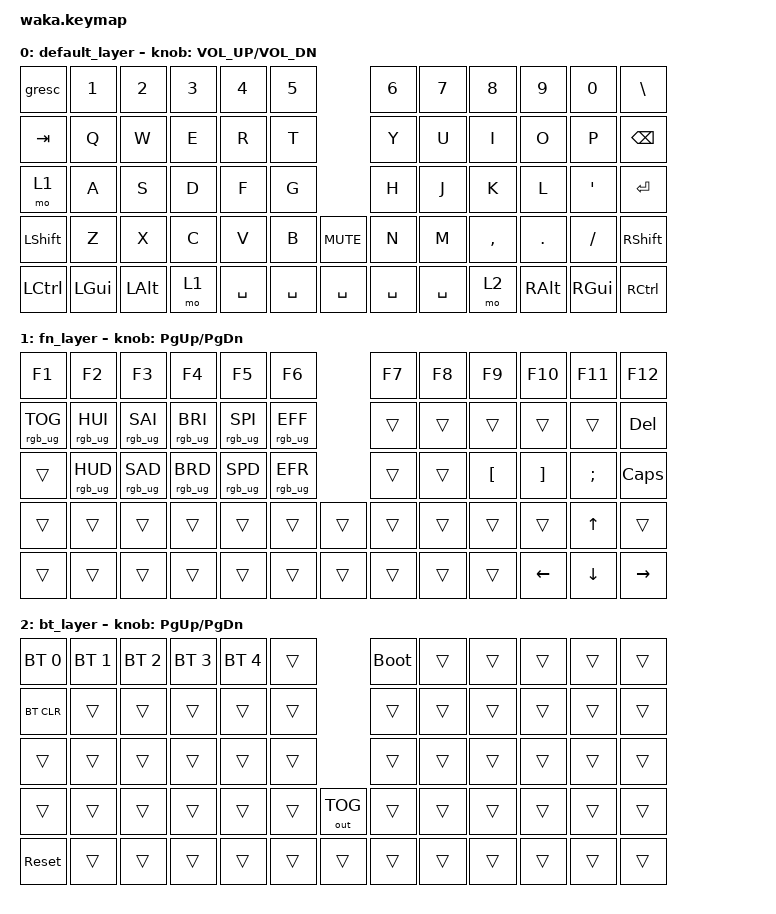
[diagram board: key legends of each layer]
  /*
  * Copyright (c) 2020 The ZMK Contributors
  *
  * SPDX-License-Identifier: MIT
  */

#include <behaviors.dtsi>
#include <dt-bindings/zmk/bt.h>
#include <dt-bindings/zmk/keys.h>
#include <dt-bindings/zmk/outputs.h>
#include <dt-bindings/zmk/rgb.h>

&encoder {
    status = "okay";
};

/ {
    sensors {
        compatible = "zmk,keymap-sensors";
        sensors = <&encoder>;
        triggers-per-rotation = <20>;
    };

    keymap {
    compatible = "zmk,keymap";
        default_layer {
            bindings = <
        &gresc      &kp N1      &kp N2      &kp N3      &kp N4      &kp N5                &kp N6    &kp N7    &kp N8    &kp N9     &kp N0     &kp BSLH
        &kp TAB     &kp Q       &kp W       &kp E       &kp R       &kp T                 &kp Y     &kp U     &kp I     &kp O      &kp P      &kp BSPC
        &mo 1       &kp A       &kp S       &kp D       &kp F       &kp G                 &kp H     &kp J     &kp K     &kp L      &kp SQT    &kp ENTER
        &kp LSHIFT  &kp Z       &kp X       &kp C       &kp V       &kp B     &kp C_MUTE  &kp N     &kp M     &kp COMMA &kp DOT    &kp FSLH   &kp RSHIFT
        &kp LCTRL   &kp LGUI    &kp LALT    &mo 1       &kp SPACE   &kp SPACE  &kp SPACE  &kp SPACE &kp SPACE &mo 2     &kp RALT   &kp RGUI   &kp RCTRL
            >;
            sensor-bindings = <&inc_dec_kp C_VOL_UP C_VOL_DN>;
        };

        fn_layer {
            bindings = <
        &kp F1           &kp F2           &kp F3           &kp F4           &kp F5           &kp F6                     &kp F7  &kp F8  &kp F9    &kp F10   &kp F11   &kp F12
        &rgb_ug RGB_TOG  &rgb_ug RGB_HUI  &rgb_ug RGB_SAI  &rgb_ug RGB_BRI  &rgb_ug RGB_SPI  &rgb_ug RGB_EFF            &trans  &trans  &trans    &trans    &trans    &kp DEL
        &trans           &rgb_ug RGB_HUD  &rgb_ug RGB_SAD  &rgb_ug RGB_BRD  &rgb_ug RGB_SPD  &rgb_ug RGB_EFR            &trans  &trans  &kp LBKT  &kp RBKT  &kp SEMI  &kp CAPS
        &trans           &trans           &trans           &trans           &trans           &trans             &trans  &trans  &trans  &trans    &trans    &kp UP    &trans
        &trans           &trans           &trans           &trans           &trans           &trans             &trans  &trans  &trans  &trans    &kp LEFT  &kp DOWN  &kp RIGHT
            >;
            sensor-bindings = <&inc_dec_kp PG_UP PG_DN>;
		};

		bt_layer {
            bindings = <
        &bt BT_SEL 0 &bt BT_SEL 1 &bt BT_SEL 2 &bt BT_SEL 3 &bt BT_SEL 4 &trans                        &bootloader &trans      &trans      &trans      &trans      &trans
        &bt BT_CLR   &trans       &trans       &trans       &trans       &trans                        &trans      &trans      &trans      &trans      &trans      &trans
        &trans       &trans       &trans       &trans       &trans       &trans                        &trans      &trans      &trans      &trans      &trans      &trans
        &trans       &trans       &trans       &trans       &trans       &trans      &out OUT_TOG      &trans      &trans      &trans      &trans      &trans      &trans
        &sys_reset   &trans       &trans       &trans       &trans       &trans      &trans            &trans      &trans      &trans      &trans      &trans      &trans
            >;
            sensor-bindings = <&inc_dec_kp PG_UP PG_DN>;
        };
    };
};
